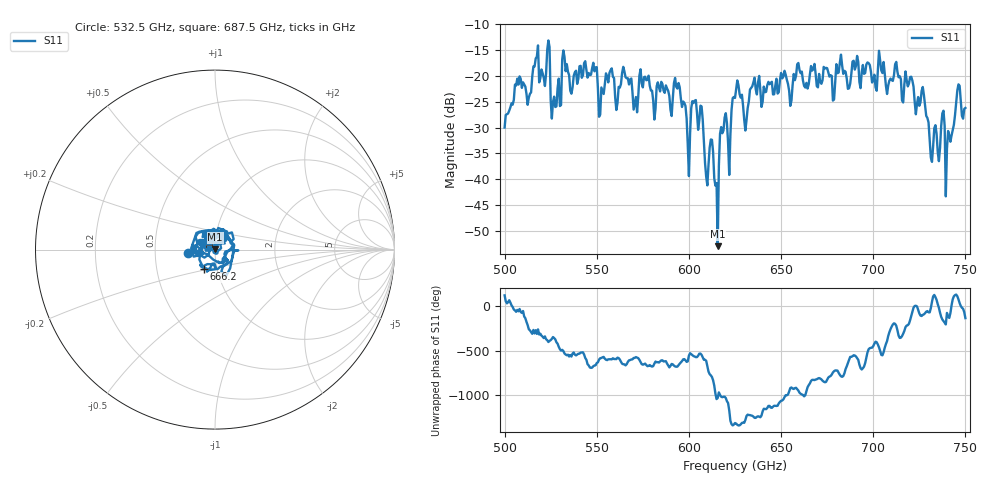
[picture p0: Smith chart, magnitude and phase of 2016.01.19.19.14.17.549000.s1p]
!Created with skrf (http://scikit-rf.org).
# GHz S RI R 50.0
!freq ReS11 ImS11
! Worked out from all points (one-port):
!   401 points, 500 GHz to 750 GHz, reference 50 ohm
!   lowest |S11| = -53.0 dB at 615.6 GHz (marker M1), VSWR 1.00, Z = 50.1 + j0.169 ohm
!   |S11| at or under -10 dB: start of sweep to end of sweep
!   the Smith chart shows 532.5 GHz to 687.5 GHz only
!   S11 on the Smith chart (normalised r, x): 532.5 GHz: 0.74, -0.03; 666.2 GHz: 0.86, -0.19; 687.5 GHz: 0.86, +0.07
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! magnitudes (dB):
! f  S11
! 500 GHz  -30.0
! 506.9 GHz  -20.5
! 513.1 GHz  -24.2
! 516.9 GHz  -16.6
! 523.8 GHz  -13.1
! 526.9 GHz  -24.0
! 531.2 GHz  -16.8
! 532.5 GHz  -16.3
! 562.5 GHz  -22.3
! 593.8 GHz  -22.4
! 599.4 GHz  -33.4
! 603.1 GHz  -24.8
! 615.6 GHz  -53.0
! 618.1 GHz  -31.1
! 621.9 GHz  -39.2
! 625 GHz  -24.3
! 630.6 GHz  -30.6
! 634.4 GHz  -22.0
! 656.2 GHz  -21.8
! 666.2 GHz  -18.1
! 687.5 GHz  -21.5
! 718.8 GHz  -22.0
! 727.5 GHz  -23.7
! 731.9 GHz  -36.7
! 737.5 GHz  -27.3
! 740.6 GHz  -30.7
! 746.2 GHz  -21.6
! 750 GHz  -26.2
